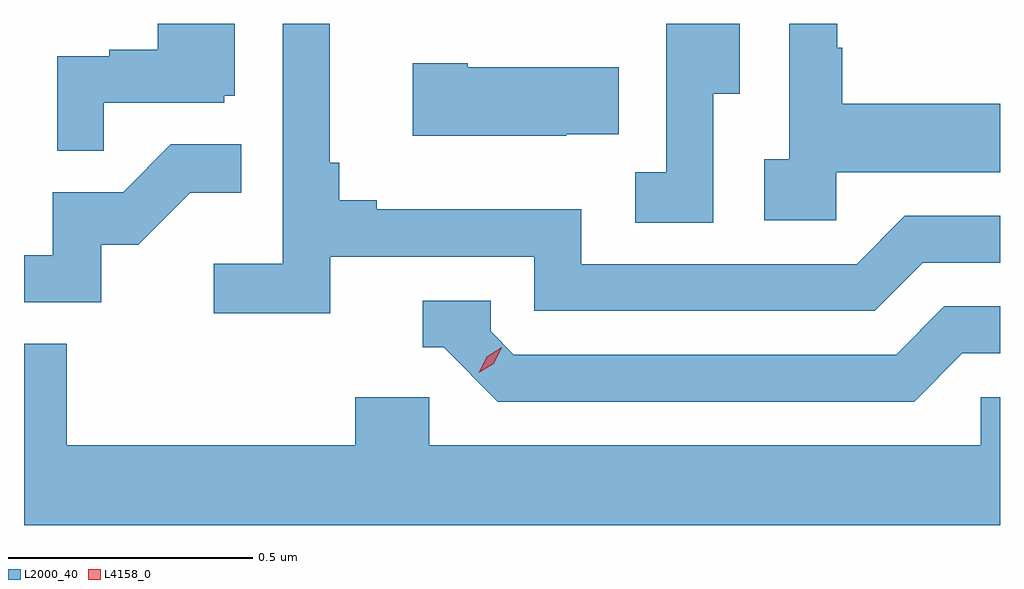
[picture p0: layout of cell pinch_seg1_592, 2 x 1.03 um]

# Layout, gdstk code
import gdstk
lib = gdstk.Library(unit=1e-6, precision=1e-09)
def P(c, l, *ps):  # polygons
    for p in ps: c.add(gdstk.Polygon(p, *l))
L2000_40 = (2000, 40)
L4158_0 = (4158, 0)

pinch_seg1_592 = lib.new_cell('pinch_seg1_592')
P(pinch_seg1_592, L2000_40, [(1054.121,504.645),(1054.368,504.645),(1054.368,504.66),(1054.39,504.66),(1054.39,504.807),(1054.232,504.807),(1054.232,504.754),(1054.133,504.754),(1054.133,504.741),(1054.026,504.741),(1054.026,504.547),(1054.121,504.547)],
  [(1055.622,504.503),(1055.958,504.503),(1055.958,504.643),(1055.635,504.643),(1055.635,504.758),(1055.625,504.758),(1055.625,504.807),(1055.526,504.807),(1055.526,504.53),(1055.475,504.53),(1055.475,504.405),(1055.622,504.405)],
  [(1054.586,504.33),(1055.004,504.33),(1055.004,504.219),(1055.701,504.219),(1055.8,504.318),(1055.958,504.318),(1055.958,504.414),(1055.763,504.414),(1055.664,504.315),(1055.1,504.315),(1055.1,504.427),(1054.681,504.427),(1054.681,504.446),(1054.604,504.446),(1054.604,504.523),(1054.585,504.523),(1054.585,504.807),(1054.488,504.807),(1054.488,504.316),(1054.347,504.316),(1054.347,504.214),(1054.586,504.214)],
  [(1055.37,504.664),(1055.425,504.664),(1055.425,504.807),(1055.274,504.807),(1055.274,504.503),(1055.211,504.503),(1055.211,504.4),(1055.37,504.4)],
  [(1055.069,504.581),(1055.177,504.581),(1055.177,504.718),(1054.867,504.718),(1054.867,504.726),(1054.755,504.726),(1054.755,504.578),(1055.069,504.578)],
  [(1054.116,504.354),(1054.192,504.354),(1054.299,504.461),(1054.403,504.461),(1054.403,504.56),(1054.259,504.56),(1054.161,504.462),(1054.017,504.462),(1054.017,504.333),(1053.958,504.333),(1053.958,504.237),(1054.116,504.237)],
  [(1055.881,504.132),(1055.958,504.132),(1055.958,504.228),(1055.844,504.228),(1055.745,504.129),(1054.962,504.129),(1054.914,504.177),(1054.914,504.24),(1054.775,504.24),(1054.775,504.144),(1054.818,504.144),(1054.929,504.033),(1055.782,504.033)],
  [(1055.958,504.042),(1055.919,504.042),(1055.919,503.944),(1054.788,503.944),(1054.788,504.042),(1054.637,504.042),(1054.637,503.944),(1054.046,503.944),(1054.046,504.152),(1053.958,504.152),(1053.958,503.78),(1055.958,503.78)])
P(pinch_seg1_592, L4158_0, [(1054.89,504.092),(1054.89,504.092),(1054.906,504.125),(1054.937,504.144),(1054.937,504.144),(1054.937,504.144),(1054.921,504.111),(1054.89,504.092)])

lib.write_gds('pinch_seg1_592.gds')
